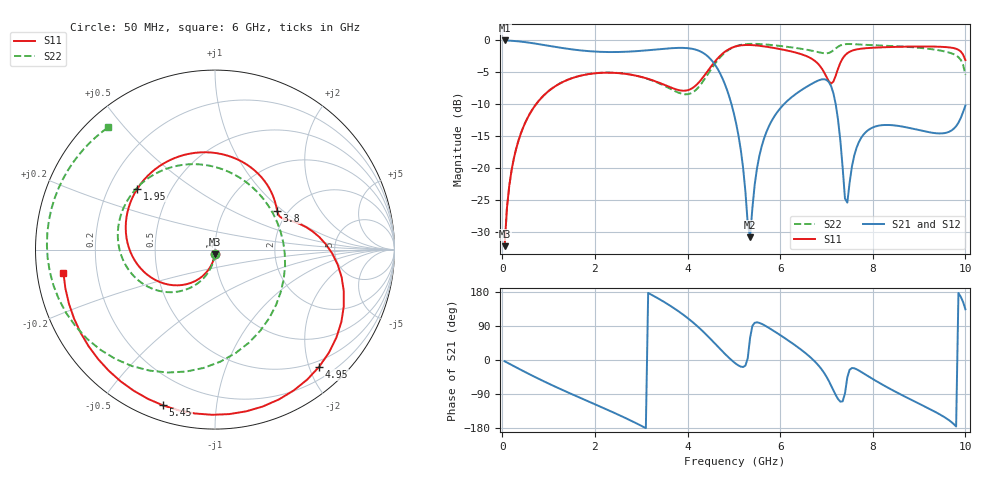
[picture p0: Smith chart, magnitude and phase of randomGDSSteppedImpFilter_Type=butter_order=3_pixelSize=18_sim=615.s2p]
! freq	dB(S11)	phase(S11)	dB(S12)	phase(S12)
!  dB(S21)	phase(S21)	dB(S22)	phase(S22)
!S-par simulation data
#  GHz  S  DB  R 50
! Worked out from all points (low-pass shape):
!   200 points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, 50 MHz to 10 GHz, reference 50 ohm
!   highest |S21| = -0.01 dB at 50 MHz (marker M1); lowest = -30.8 dB at 5.35 GHz (marker M2)
!   |S21| within 3 dB of the highest: start of sweep to 4.507 GHz
!   lowest |S11| = -32.2 dB at 50 MHz (marker M3), VSWR 1.05, Z = 49.8 - j2.45 ohm
!   |S11| at or under -10 dB: start of sweep to 729.5 MHz
!   |S22| runs from -32.2 to -0.5 dB; largest |S21 - S12| = 0
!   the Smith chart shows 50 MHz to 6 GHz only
!   S11 on the Smith chart (normalised r, x): 50 MHz: 1.00, -0.05; 1.95 GHz: 0.32, +0.31; 3.8 GHz: 1.75, +0.92; 4.95 GHz: 0.39, -2.17; 5.45 GHz: 0.07, -0.72; 6 GHz: 0.08, -0.08
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0.05  -32.20 -92.4  -0.01 -3.3  -0.01 -3.3  -32.19 -91.7
0.2  -20.34 -104.5  -0.06 -13.1  -0.06 -13.1  -20.35 -101.8
0.5  -12.81 -125.9  -0.28 -32.2  -0.28 -32.2  -12.79 -119.6
1.75  -5.43 154.0  -1.61 -103.5  -1.61 -103.5  -5.41 178.0
1.95  -5.19 141.8  -1.73 -114.2  -1.73 -114.2  -5.18 168.9
3.4  -6.66 51.4  -1.38 160.0  -1.38 160.0  -6.77 89.2
3.8  -7.76 32.1  -1.18 129.0  -1.18 129.0  -8.16 46.6
4.35  -5.64 13.9  -2.02 73.5  -2.02 73.5  -6.25 -51.7
4.95  -1.18 -48.4  -10.02 -0.4  -10.02 -0.4  -1.22 -145.2
5.05  -0.92 -60.8  -13.01 -10.4  -13.01 -10.4  -0.91 -156.8
5.35  -0.73 -96.9  -30.79 58.0  -30.79 58.0  -0.55 174.2
5.45  -0.77 -108.5  -22.60 98.1  -22.60 98.1  -0.54 166.2
6  -1.37 -171.2  -10.65 65.8  -10.65 65.8  -0.87 131.1
6.7  -2.96 91.0  -6.72 1.9  -6.72 1.9  -1.64 97.8
7  -5.72 2.5  -6.18 -44.0  -6.18 -44.0  -2.03 88.9
7.15  -6.44 -93.4  -8.28 -80.0  -8.28 -80.0  -1.55 86.2
7.35  -2.82 159.6  -19.96 -109.1  -19.96 -109.1  -0.67 74.9
7.45  -2.01 128.9  -25.39 -45.9  -25.39 -45.9  -0.57 68.3
7.6  -1.50 96.4  -18.01 -21.8  -18.01 -21.8  -0.60 59.3
8.35  -1.05 7.7  -13.24 -74.6  -13.24 -74.6  -0.86 17.6
9.5  -1.01 -67.6  -14.55 -147.3  -14.55 -147.3  -1.65 -63.7
10  -3.09 -96.4  -10.21 133.9  -10.21 133.9  -5.40 -127.6
